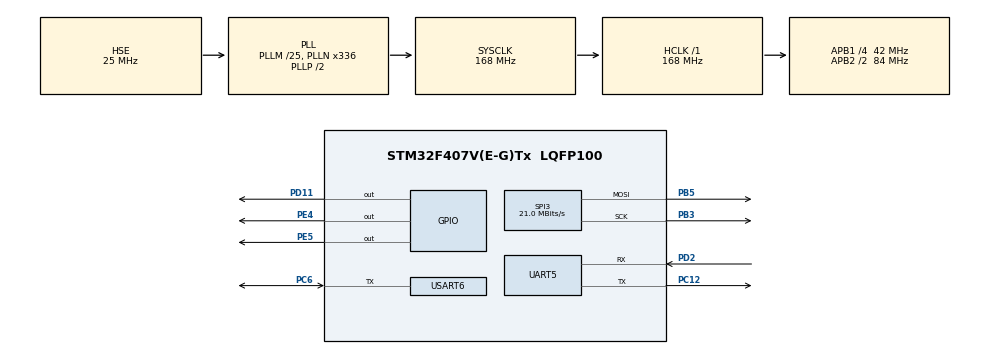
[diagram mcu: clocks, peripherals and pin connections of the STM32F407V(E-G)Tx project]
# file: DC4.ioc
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Dma.Request0=USART6_RX
Dma.Request1=UART5_RX
Dma.Request2=SPI3_TX
Dma.SPI3_TX.2.Direction=DMA_MEMORY_TO_PERIPH
Dma.SPI3_TX.2.FIFOMode=DMA_FIFOMODE_DISABLE
Dma.SPI3_TX.2.Instance=DMA1_Stream5
Dma.SPI3_TX.2.MemDataAlignment=DMA_MDATAALIGN_BYTE
Dma.SPI3_TX.2.MemInc=DMA_MINC_ENABLE
Dma.SPI3_TX.2.Mode=DMA_NORMAL
Dma.SPI3_TX.2.PeriphDataAlignment=DMA_PDATAALIGN_BYTE
Dma.SPI3_TX.2.PeriphInc=DMA_PINC_DISABLE
Dma.SPI3_TX.2.Priority=DMA_PRIORITY_LOW
Dma.UART5_RX.1.Direction=DMA_PERIPH_TO_MEMORY
Dma.UART5_RX.1.FIFOMode=DMA_FIFOMODE_DISABLE
Dma.UART5_RX.1.Instance=DMA1_Stream0
Dma.UART5_RX.1.MemDataAlignment=DMA_MDATAALIGN_BYTE
Dma.UART5_RX.1.MemInc=DMA_MINC_ENABLE
Dma.UART5_RX.1.Mode=DMA_NORMAL
Dma.UART5_RX.1.PeriphDataAlignment=DMA_PDATAALIGN_BYTE
Dma.UART5_RX.1.PeriphInc=DMA_PINC_DISABLE
Dma.UART5_RX.1.Priority=DMA_PRIORITY_LOW
Dma.USART6_RX.0.Direction=DMA_PERIPH_TO_MEMORY
Dma.USART6_RX.0.FIFOMode=DMA_FIFOMODE_DISABLE
Dma.USART6_RX.0.Instance=DMA2_Stream1
Dma.USART6_RX.0.MemDataAlignment=DMA_MDATAALIGN_BYTE
Dma.USART6_RX.0.MemInc=DMA_MINC_ENABLE
Dma.USART6_RX.0.Mode=DMA_NORMAL
Dma.USART6_RX.0.PeriphDataAlignment=DMA_PDATAALIGN_BYTE
Dma.USART6_RX.0.PeriphInc=DMA_PINC_DISABLE
Dma.USART6_RX.0.Priority=DMA_PRIORITY_LOW
Mcu.Family=STM32F4
Mcu.Name=STM32F407V(E-G)Tx
Mcu.Package=LQFP100
NVIC.DMA1_Stream0_IRQn=true\:0\:0\:false\:false\:true\:false\:true
NVIC.DMA1_Stream5_IRQn=true\:0\:0\:false\:false\:true\:false\:true
NVIC.DMA2_Stream1_IRQn=true\:0\:0\:false\:false\:true\:false\:true
NVIC.PriorityGroup=NVIC_PRIORITYGROUP_4
NVIC.SPI3_IRQn=true\:0\:0\:false\:false\:true\:true\:true
NVIC.TIM1_BRK_TIM9_IRQn=true\:0\:0\:false\:false\:true\:true\:true
NVIC.UART5_IRQn=true\:0\:0\:false\:false\:true\:true\:true
NVIC.USART6_IRQn=true\:0\:0\:false\:false\:true\:true\:true
PB3.Mode=TX_Only_Simplex_Unidirect_Master
PB3.Signal=SPI3_SCK
PB5.Mode=TX_Only_Simplex_Unidirect_Master
PB5.Signal=SPI3_MOSI
PC12.Mode=Asynchronous
PC12.Signal=UART5_TX
PC6.GPIO_ModeDefaultOD=GPIO_MODE_AF_PP
PC6.GPIO_PuPd=GPIO_PULLUP
PC6.Mode=Half_duplex(single_wire_mode)
PC6.Signal=USART6_TX
PD11.Signal=GPIO_Output
PD2.Mode=Asynchronous
PD2.Signal=UART5_RX
PE4.GPIO_PuPd=GPIO_PULLDOWN
PE4.GPIO_Speed=GPIO_SPEED_FREQ_HIGH
PE4.PinState=GPIO_PIN_RESET
PE4.Signal=GPIO_Output
PE5.GPIO_PuPd=GPIO_PULLUP
PE5.GPIO_Speed=GPIO_SPEED_FREQ_HIGH
PE5.Signal=GPIO_Output
PH0-OSC_IN.Mode=HSE-External-Oscillator
PH0-OSC_IN.Signal=RCC_OSC_IN
PH1-OSC_OUT.Mode=HSE-External-Oscillator
PH1-OSC_OUT.Signal=RCC_OSC_OUT
ProjectManager.HeapSize=0x200
ProjectManager.StackSize=0x400
ProjectManager.TargetToolchain=STM32CubeIDE
RCC.48MHZClocksFreq_Value=84000000
RCC.AHBFreq_Value=168000000
RCC.APB1CLKDivider=RCC_HCLK_DIV4
RCC.APB1Freq_Value=42000000
RCC.APB1TimFreq_Value=84000000
RCC.APB2CLKDivider=RCC_HCLK_DIV2
RCC.APB2Freq_Value=84000000
RCC.APB2TimCLKDivider=2
RCC.APB2TimFreq_Value=168000000
RCC.CortexFreq_Value=168000000
RCC.HCLKFreq_Value=168000000
RCC.HSE_VALUE=25000000
RCC.HSI_VALUE=16000000
RCC.LSE_VALUE=32768
RCC.PLLM=25
RCC.PLLN=336
RCC.PLLSourceVirtual=RCC_PLLSOURCE_HSE
RCC.SYSCLKFreq_VALUE=168000000
RCC.SYSCLKSource=RCC_SYSCLKSOURCE_PLLCLK
RCC.VCOOutputFreq_Value=336000000
SPI3.BaudRatePrescaler=SPI_BAUDRATEPRESCALER_2
SPI3.CalculateBaudRate=21.0 MBits/s
SPI3.Direction=SPI_DIRECTION_2LINES
SPI3.Mode=SPI_MODE_MASTER
SPI3.VirtualType=VM_MASTER
TIM9.Channel-Output\ Compare1\ No\ Output=TIM_CHANNEL_1
TIM9.Prescaler=4199
UART5.VirtualMode=Asynchronous
USART6.BaudRate=9600
USART6.VirtualMode=VM_ASYNC
VP_RTC_VS_RTC_Activate.Mode=RTC_Enabled
VP_TIM9_VS_ClockSourceINT.Mode=Internal
VP_TIM9_VS_no_output1.Mode=Output Compare1 No Output
board=custom

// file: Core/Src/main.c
/* USER CODE BEGIN Header */
/**
  ******************************************************************************
  * @file           : main.c
  * @brief          : Main program body
  ******************************************************************************
  * @attention
  *
  * Copyright (c) 2022 STMicroelectronics.
  * All rights reserved.
  *
  * This software is licensed under terms that can be found in the LICENSE file
  * in the root directory of this software component.
  * If no LICENSE file comes with this software, it is provided AS-IS.
  *
  ******************************************************************************
  */
/* USER CODE END Header */
#include "main.h"

/* USER CODE BEGIN Includes */
#include <stdio.h>
#include <string.h>
#include "../../tht2/inc/tht2.h"
#include "../../display/inc/display.h"
/* USER CODE END Includes */

RTC_HandleTypeDef hrtc;

SPI_HandleTypeDef hspi3;
DMA_HandleTypeDef hdma_spi3_tx;

TIM_HandleTypeDef htim9;

UART_HandleTypeDef huart5;
UART_HandleTypeDef huart6;
DMA_HandleTypeDef hdma_uart5_rx;
DMA_HandleTypeDef hdma_usart6_rx;

/* USER CODE BEGIN PV */

// UART
uint8_t UART_DEBUG_buffer[30];
uint8_t UART_RS485_buffer[30];

UART_HandleTypeDef * UART_DEBUG = &huart5;
UART_HandleTypeDef * UART_RS485 = &huart6;

// THT 2
SPINEL_t spinel;
THT2_t   tht2;

// TIMER 4
TIM_OC_InitTypeDef sConfigOC = {0};

// OTHER
uint16_t output;
uint8_t  displayTemp    = 0;

/* USER CODE END PV */

void SystemClock_Config(void);
static void MX_GPIO_Init(void);
static void MX_RTC_Init(void);
static void MX_DMA_Init(void);
static void MX_UART5_Init(void);
static void MX_USART6_UART_Init(void);
static void MX_SPI3_Init(void);
static void MX_TIM9_Init(void);

int main(void)
{

  /* MCU Configuration--------------------------------------------------------*/

  /* Reset of all peripherals, Initializes the Flash interface and the Systick. */
  HAL_Init();

  /* USER CODE BEGIN Init */
  tht2.spinel = &spinel;
  THT2_init(&tht2);
  /* USER CODE END Init */

  /* Configure the system clock */
  SystemClock_Config();

  /* Initialize all configured peripherals */
  MX_GPIO_Init();
  MX_RTC_Init();
  MX_DMA_Init();
  MX_UART5_Init();
  MX_USART6_UART_Init();
  MX_SPI3_Init();
  MX_TIM9_Init();
  /* USER CODE BEGIN 2 */
/*
  if (HAL_TIM_Base_Start(&htim9) != HAL_OK)
  {
    Error_Handler();
  }

  if (HAL_TIM_Base_Start_IT(&htim9) != HAL_OK)
  {
    Error_Handler();
  }
*/
  HAL_TIM_OC_Start_IT(&htim9, TIM_CHANNEL_1);

  // DEBUG TX EXAMPLE
  sprintf(UART_DEBUG_buffer, "\n\n*** DC4 DEMO ***\n");
  HAL_UART_Transmit(UART_DEBUG, UART_DEBUG_buffer, strlen(UART_DEBUG_buffer), 100);

  // RX INPUT ENABLE
  HAL_UART_Receive_DMA (UART_DEBUG, UART_DEBUG_buffer, 1);
  HAL_UART_Receive_DMA (UART_RS485, UART_RS485_buffer, 1);

  /* USER CODE END 2 */

  /* Infinite loop */
  /* USER CODE BEGIN WHILE */
  while (1)
  {
  switch(UART_DEBUG_buffer[0])
  {
    case '0' ... '9':

      displayTemp *= 10;
      displayTemp += (UART_DEBUG_buffer[0] - '0');
      UART_DEBUG_buffer[0] = '\n';

      break;

    case '\r':

      display_setBrightLvl((display_brLvlProfile_t){.text = displayTemp, .dots = 255});

      sprintf(UART_DEBUG_buffer, "\nBright: %d\n", displayTemp);
      HAL_UART_Transmit(UART_DEBUG, UART_DEBUG_buffer, strlen(UART_DEBUG_buffer), 100);
      displayTemp     = 0;

      break;

    case 't':

      THT2_getMeasure(&tht2);
      THT2_waitForACK(&tht2, 200);

      sprintf(UART_DEBUG_buffer, "\nTemp: %3d,%d\n", tht2.spinel->temp/10, tht2.spinel->temp%10);
      HAL_UART_Transmit(UART_DEBUG, UART_DEBUG_buffer, strlen(UART_DEBUG_buffer), 100);

      break;

    case 'h':

      THT2_getMeasure(&tht2);
      THT2_waitForACK(&tht2, 200);

      sprintf(UART_DEBUG_buffer, "\nHumi: %3d,%d\n", tht2.spinel->humi/10, tht2.spinel->humi%10);
      HAL_UART_Transmit(UART_DEBUG, UART_DEBUG_buffer, strlen(UART_DEBUG_buffer), 100);

      break;

    case 'd':

      THT2_getMeasure(&tht2);
      THT2_waitForACK(&tht2, 200);

      sprintf(UART_DEBUG_buffer, "\nDewP: %3d,%d\n", tht2.spinel->dewp/10, tht2.spinel->dewp%10);
      HAL_UART_Transmit(UART_DEBUG, UART_DEBUG_buffer, strlen(UART_DEBUG_buffer), 100);

      break;

    case 'c':

      THT2_setUnit(&tht2, SP_SENS_UNIT_C);
      THT2_waitForACK(&tht2, 200);
      THT2_getUnit(&tht2);
      THT2_waitForACK(&tht2, 200);

      sprintf(UART_DEBUG_buffer, "\nTemp unit: %d\n", tht2.spinel->tempUnit);
      HAL_UART_Transmit(UART_DEBUG, UART_DEBUG_buffer, strlen(UART_DEBUG_buffer), 100);

      break;

    case 'f':

      THT2_setUnit(&tht2, SP_SENS_UNIT_F);
      THT2_waitForACK(&tht2, 200);
      THT2_getUnit(&tht2);
      THT2_waitForACK(&tht2, 200);

      sprintf(UART_DEBUG_buffer, "\nTemp unit: %d\n", tht2.spinel->tempUnit);
      HAL_UART_Transmit(UART_DEBUG, UART_DEBUG_buffer, strlen(UART_DEBUG_buffer), 100);

      break;

    case 'i':

      THT2_getSensID(&tht2);
      THT2_waitForACK(&tht2, 200);

      sprintf(UART_DEBUG_buffer, "\nSens ID: %d\n", tht2.spinel->sensID);
      HAL_UART_Transmit(UART_DEBUG, UART_DEBUG_buffer, strlen(UART_DEBUG_buffer), 100);

      break;

    case 'r':

      THT2_reset(&tht2);
      output = THT2_waitForACK(&tht2, 200);

      sprintf(UART_DEBUG_buffer, "\nReset: %d\n", output);
      HAL_UART_Transmit(UART_DEBUG, UART_DEBUG_buffer, strlen(UART_DEBUG_buffer), 100);

      break;
  }
    /* USER CODE END WHILE */

  }
}

void SystemClock_Config(void)
{
  RCC_OscInitTypeDef RCC_OscInitStruct = {0};
  RCC_ClkInitTypeDef RCC_ClkInitStruct = {0};

  /** Configure the main internal regulator output voltage
  */
  __HAL_RCC_PWR_CLK_ENABLE();
  __HAL_PWR_VOLTAGESCALING_CONFIG(PWR_REGULATOR_VOLTAGE_SCALE1);
  /** Initializes the RCC Oscillators according to the specified parameters
  * in the RCC_OscInitTypeDef structure.
  */
  RCC_OscInitStruct.OscillatorType = RCC_OSCILLATORTYPE_LSI|RCC_OSCILLATORTYPE_HSE;
  RCC_OscInitStruct.HSEState = RCC_HSE_ON;
  RCC_OscInitStruct.LSIState = RCC_LSI_ON;
  RCC_OscInitStruct.PLL.PLLState = RCC_PLL_ON;
  RCC_OscInitStruct.PLL.PLLSource = RCC_PLLSOURCE_HSE;
  RCC_OscInitStruct.PLL.PLLM = 25;
  RCC_OscInitStruct.PLL.PLLN = 336;
  RCC_OscInitStruct.PLL.PLLP = RCC_PLLP_DIV2;
  RCC_OscInitStruct.PLL.PLLQ = 4;
  if (HAL_RCC_OscConfig(&RCC_OscInitStruct) != HAL_OK)
  {
    Error_Handler();
  }
  /** Initializes the CPU, AHB and APB buses clocks
  */
  RCC_ClkInitStruct.ClockType = RCC_CLOCKTYPE_HCLK|RCC_CLOCKTYPE_SYSCLK
                              |RCC_CLOCKTYPE_PCLK1|RCC_CLOCKTYPE_PCLK2;
  RCC_ClkInitStruct.SYSCLKSource = RCC_SYSCLKSOURCE_PLLCLK;
  RCC_ClkInitStruct.AHBCLKDivider = RCC_SYSCLK_DIV1;
  RCC_ClkInitStruct.APB1CLKDivider = RCC_HCLK_DIV4;
  RCC_ClkInitStruct.APB2CLKDivider = RCC_HCLK_DIV2;

  if (HAL_RCC_ClockConfig(&RCC_ClkInitStruct, FLASH_LATENCY_5) != HAL_OK)
  {
    Error_Handler();
  }
}

static void MX_RTC_Init(void)
{

  /** Initialize RTC Only
  */
  hrtc.Instance = RTC;
  hrtc.Init.HourFormat = RTC_HOURFORMAT_24;
  hrtc.Init.AsynchPrediv = 127;
  hrtc.Init.SynchPrediv = 255;
  hrtc.Init.OutPut = RTC_OUTPUT_DISABLE;
  hrtc.Init.OutPutPolarity = RTC_OUTPUT_POLARITY_HIGH;
  hrtc.Init.OutPutType = RTC_OUTPUT_TYPE_OPENDRAIN;
  if (HAL_RTC_Init(&hrtc) != HAL_OK)
  {
    Error_Handler();
  }

}

static void MX_SPI3_Init(void)
{

  /* SPI3 parameter configuration*/
  hspi3.Instance = SPI3;
  hspi3.Init.Mode = SPI_MODE_MASTER;
  hspi3.Init.Direction = SPI_DIRECTION_2LINES;
  hspi3.Init.DataSize = SPI_DATASIZE_8BIT;
  hspi3.Init.CLKPolarity = SPI_POLARITY_LOW;
  hspi3.Init.CLKPhase = SPI_PHASE_1EDGE;
  hspi3.Init.NSS = SPI_NSS_SOFT;
  hspi3.Init.BaudRatePrescaler = SPI_BAUDRATEPRESCALER_2;
  hspi3.Init.FirstBit = SPI_FIRSTBIT_MSB;
  hspi3.Init.TIMode = SPI_TIMODE_DISABLE;
  hspi3.Init.CRCCalculation = SPI_CRCCALCULATION_DISABLE;
  hspi3.Init.CRCPolynomial = 10;
  if (HAL_SPI_Init(&hspi3) != HAL_OK)
  {
    Error_Handler();
  }

}

static void MX_TIM9_Init(void)
{

  TIM_ClockConfigTypeDef sClockSourceConfig = {0};
//TIM_OC_InitTypeDef sConfigOC = {0};

  /* USER CODE BEGIN TIM9_Init 1 */
  // 84 MHz / 4200 = 20 kHz (50us)
  /* USER CODE END TIM9_Init 1 */
  htim9.Instance = TIM9;
  htim9.Init.Prescaler = 4199;
  htim9.Init.CounterMode = TIM_COUNTERMODE_UP;
  htim9.Init.Period = 65535;
  htim9.Init.ClockDivision = TIM_CLOCKDIVISION_DIV1;
  htim9.Init.AutoReloadPreload = TIM_AUTORELOAD_PRELOAD_DISABLE;
  if (HAL_TIM_Base_Init(&htim9) != HAL_OK)
  {
    Error_Handler();
  }
  sClockSourceConfig.ClockSource = TIM_CLOCKSOURCE_INTERNAL;
  if (HAL_TIM_ConfigClockSource(&htim9, &sClockSourceConfig) != HAL_OK)
  {
    Error_Handler();
  }
  if (HAL_TIM_OC_Init(&htim9) != HAL_OK)
  {
    Error_Handler();
  }
  sConfigOC.OCMode = TIM_OCMODE_TIMING;
  sConfigOC.Pulse = 0;
  sConfigOC.OCPolarity = TIM_OCPOLARITY_HIGH;
  sConfigOC.OCFastMode = TIM_OCFAST_DISABLE;
  if (HAL_TIM_OC_ConfigChannel(&htim9, &sConfigOC, TIM_CHANNEL_1) != HAL_OK)
  {
    Error_Handler();
  }

}

static void MX_UART5_Init(void)
{

  huart5.Instance = UART5;
  huart5.Init.BaudRate = 115200;
  huart5.Init.WordLength = UART_WORDLENGTH_8B;
  huart5.Init.StopBits = UART_STOPBITS_1;
  huart5.Init.Parity = UART_PARITY_NONE;
  huart5.Init.Mode = UART_MODE_TX_RX;
  huart5.Init.HwFlowCtl = UART_HWCONTROL_NONE;
  huart5.Init.OverSampling = UART_OVERSAMPLING_16;
  if (HAL_UART_Init(&huart5) != HAL_OK)
  {
    Error_Handler();
  }

}

static void MX_USART6_UART_Init(void)
{

  huart6.Instance = USART6;
  huart6.Init.BaudRate = 9600;
  huart6.Init.WordLength = UART_WORDLENGTH_8B;
  huart6.Init.StopBits = UART_STOPBITS_1;
  huart6.Init.Parity = UART_PARITY_NONE;
  huart6.Init.Mode = UART_MODE_TX_RX;
  huart6.Init.HwFlowCtl = UART_HWCONTROL_NONE;
  huart6.Init.OverSampling = UART_OVERSAMPLING_16;
  if (HAL_HalfDuplex_Init(&huart6) != HAL_OK)
  {
    Error_Handler();
  }

}

static void MX_DMA_Init(void)
{

  /* DMA controller clock enable */
  __HAL_RCC_DMA2_CLK_ENABLE();
  __HAL_RCC_DMA1_CLK_ENABLE();

  /* DMA interrupt init */
  /* DMA1_Stream0_IRQn interrupt configuration */
  HAL_NVIC_SetPriority(DMA1_Stream0_IRQn, 0, 0);
  HAL_NVIC_EnableIRQ(DMA1_Stream0_IRQn);
  /* DMA1_Stream5_IRQn interrupt configuration */
  HAL_NVIC_SetPriority(DMA1_Stream5_IRQn, 0, 0);
  HAL_NVIC_EnableIRQ(DMA1_Stream5_IRQn);
  /* DMA2_Stream1_IRQn interrupt configuration */
  HAL_NVIC_SetPriority(DMA2_Stream1_IRQn, 0, 0);
  HAL_NVIC_EnableIRQ(DMA2_Stream1_IRQn);

}

static void MX_GPIO_Init(void)
{
  GPIO_InitTypeDef GPIO_InitStruct = {0};

  /* GPIO Ports Clock Enable */
  __HAL_RCC_GPIOE_CLK_ENABLE();
  __HAL_RCC_GPIOH_CLK_ENABLE();
  __HAL_RCC_GPIOD_CLK_ENABLE();
  __HAL_RCC_GPIOC_CLK_ENABLE();
  __HAL_RCC_GPIOB_CLK_ENABLE();

  /*Configure GPIO pin Output Level */
  HAL_GPIO_WritePin(GPIOE, GPIO_PIN_4|GPIO_PIN_5, GPIO_PIN_RESET);

  /*Configure GPIO pin Output Level */
  HAL_GPIO_WritePin(GPIOD, GPIO_PIN_11, GPIO_PIN_RESET);

  /*Configure GPIO pin : PE4 */
  GPIO_InitStruct.Pin = GPIO_PIN_4;
  GPIO_InitStruct.Mode = GPIO_MODE_OUTPUT_PP;
  GPIO_InitStruct.Pull = GPIO_PULLDOWN;
  GPIO_InitStruct.Speed = GPIO_SPEED_FREQ_HIGH;
  HAL_GPIO_Init(GPIOE, &GPIO_InitStruct);

  /*Configure GPIO pin : PE5 */
  GPIO_InitStruct.Pin = GPIO_PIN_5;
  GPIO_InitStruct.Mode = GPIO_MODE_OUTPUT_PP;
  GPIO_InitStruct.Pull = GPIO_PULLUP;
  GPIO_InitStruct.Speed = GPIO_SPEED_FREQ_HIGH;
  HAL_GPIO_Init(GPIOE, &GPIO_InitStruct);

  /*Configure GPIO pin : PD11 */
  GPIO_InitStruct.Pin = GPIO_PIN_11;
  GPIO_InitStruct.Mode = GPIO_MODE_OUTPUT_PP;
  GPIO_InitStruct.Pull = GPIO_NOPULL;
  GPIO_InitStruct.Speed = GPIO_SPEED_FREQ_LOW;
  HAL_GPIO_Init(GPIOD, &GPIO_InitStruct);

}

/* USER CODE BEGIN 4 */
void HAL_UART_RxCpltCallback(UART_HandleTypeDef *huart)
{
  if(huart == UART_RS485)
  {
//  HAL_UART_Transmit    (UART_DEBUG, UART_RS485_buffer, 1, 100);

    if (true == THT2_msgReceive(&tht2, UART_RS485_buffer, 1))
    {
      output = THT2_msgParse(&tht2);
    }

    HAL_UART_Receive_DMA (UART_RS485, UART_RS485_buffer, 1);
  }

  if(huart == UART_DEBUG)
  {
    HAL_UART_Transmit    (UART_DEBUG, UART_DEBUG_buffer, 1, 100);
    HAL_UART_Receive_DMA (UART_DEBUG, UART_DEBUG_buffer, 1);
  }
}

void HAL_TIM_OC_DelayElapsedCallback(TIM_HandleTypeDef *htim)
{
  if (htim->Instance == TIM9)
  {
    display_sendData();
  }
}

/* USER CODE END 4 */

void Error_Handler(void)
{
  __disable_irq();
  while (1)
  {
  }
}
